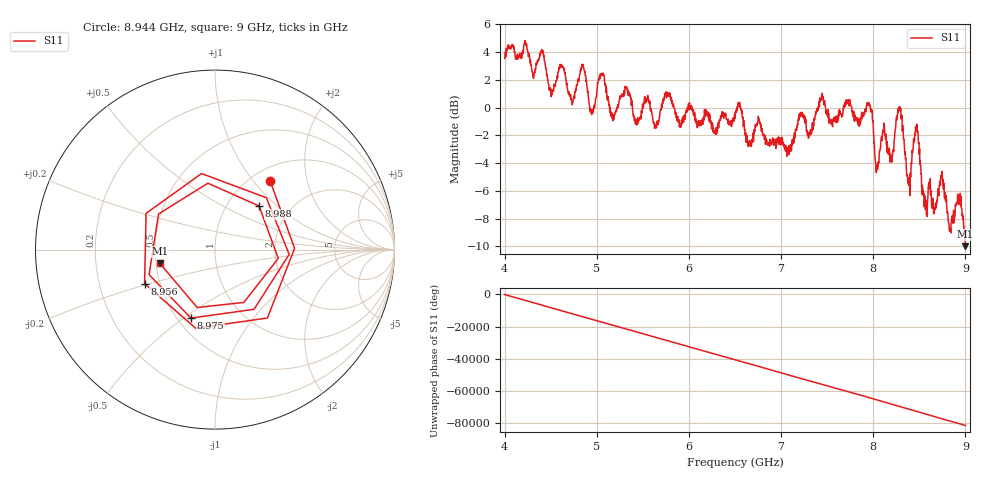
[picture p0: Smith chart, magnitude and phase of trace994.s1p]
! Created with skrf 1.8.0 (http://scikit-rf.org).
# Hz S RI R 50.0
!freq ReS11 ImS11
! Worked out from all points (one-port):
!   1601 points, 4 GHz to 9 GHz, reference 50 ohm
!   lowest |S11| = -10.0 dB at 9 GHz (marker M1), VSWR 1.93, Z = 26.2 - j4.43 ohm
!   |S11| at or under -10 dB: nowhere
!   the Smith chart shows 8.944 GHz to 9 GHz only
!   S11 on the Smith chart (normalised r, x): 8.944 GHz: 1.21, +1.22; 8.956 GHz: 0.41, -0.19; 8.975 GHz: 0.58, -0.53; 8.988 GHz: 1.40, +0.77; 9 GHz: 0.52, -0.09
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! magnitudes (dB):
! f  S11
! 4 GHz  3.5
! 4.403 GHz  4.2
! 4.509 GHz  0.9
! 4.625 GHz  3.0
! 4.734 GHz  0.2
! 4.853 GHz  3.1
! 4.944 GHz  -0.5
! 5.056 GHz  2.4
! 5.166 GHz  -0.6
! 5.25 GHz  0.8
! 5.875 GHz  -0.8
! 6.5 GHz  -0.8
! 7.125 GHz  -2.6
! 7.434 GHz  0.7
! 7.75 GHz  0.4
! 7.962 GHz  0.1
! 8.041 GHz  -4.3
! 8.112 GHz  -1.8
! 8.203 GHz  -3.9
! 8.288 GHz  -0.2
! 8.375 GHz  -5.4
! 8.469 GHz  -1.5
! 8.562 GHz  -6.4
! 8.944 GHz  -6.2
! 8.956 GHz  -7.2
! 8.975 GHz  -7.9
! 8.988 GHz  -9.2
! 9 GHz  -10.0
